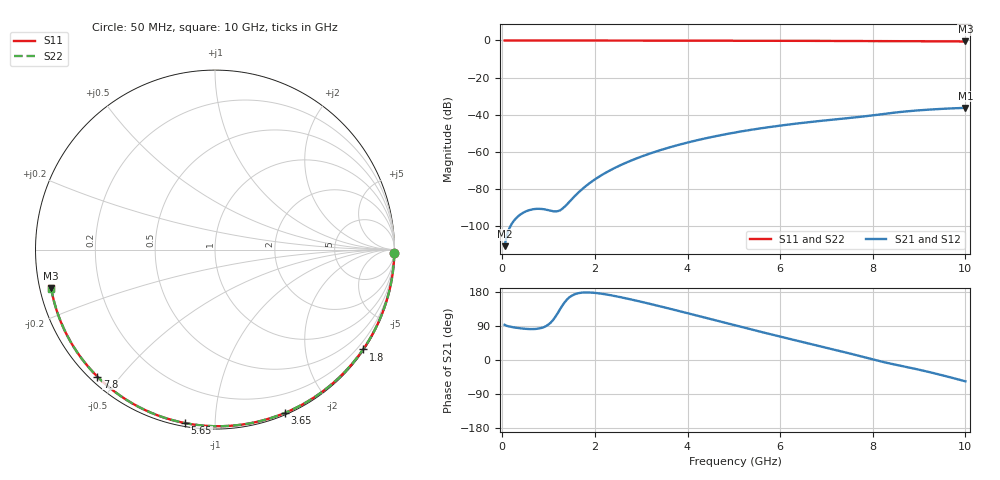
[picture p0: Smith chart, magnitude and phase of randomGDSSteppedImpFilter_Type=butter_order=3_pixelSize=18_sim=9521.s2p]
! freq	dB(S11)	phase(S11)	dB(S12)	phase(S12)
!  dB(S21)	phase(S21)	dB(S22)	phase(S22)
!S-par simulation data
#  GHz  S  DB  R 50
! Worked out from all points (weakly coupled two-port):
!   200 points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, 50 MHz to 10 GHz, reference 50 ohm
!   highest |S21| = -36.28 dB at 10 GHz (marker M1); lowest = -110.7 dB at 50 MHz (marker M2)
!   lowest |S11| = -0.6 dB at 10 GHz (marker M3), VSWR 31.25, Z = 1.62 - j5.8 ohm
!   |S11| at or under -10 dB: nowhere
!   |S22| runs from -0.6 to 0.0 dB; largest |S21 - S12| = 0
!   S11 on the Smith chart (normalised r, x): 50 MHz: open; 1.8 GHz: 0.03, -3.27; 3.65 GHz: 0.02, -1.51; 5.65 GHz: 0.02, -0.84; 7.8 GHz: 0.02, -0.44; 10 GHz: 0.03, -0.12
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0.05  -0.00 -1.0  -110.69 92.9  -110.69 92.9  -0.00 -1.0
0.5  -0.01 -9.6  -92.09 82.2  -92.09 82.2  -0.01 -9.5
0.9  -0.02 -17.2  -90.83 86.8  -90.83 86.8  -0.02 -17.1
1.7  -0.04 -32.1  -80.55 177.5  -80.55 177.5  -0.04 -32.1
1.75  -0.04 -33.1  -79.46 178.0  -79.46 178.0  -0.04 -33.0
1.8  -0.04 -34.0  -78.43 178.3  -78.43 178.3  -0.04 -33.9
1.95  -0.05 -36.7  -75.61 177.7  -75.61 177.7  -0.05 -36.7
2.1  -0.05 -39.5  -73.14 175.7  -73.14 175.7  -0.05 -39.4
2.45  -0.06 -45.8  -68.34 168.3  -68.34 168.3  -0.06 -45.8
2.9  -0.07 -53.9  -63.46 156.5  -63.46 156.5  -0.07 -53.8
3.4  -0.08 -62.6  -59.13 141.9  -59.13 141.9  -0.08 -62.6
3.65  -0.09 -67.0  -57.27 134.3  -57.27 134.3  -0.09 -66.9
4.3  -0.11 -77.9  -53.16 114.2  -53.16 114.2  -0.11 -77.8
5.05  -0.14 -90.2  -49.42 90.8  -49.42 90.8  -0.14 -90.1
5.65  -0.17 -99.8  -47.03 72.3  -47.03 72.3  -0.17 -99.7
6.15  -0.20 -107.6  -45.35 57.3  -45.35 57.3  -0.19 -107.5
6.7  -0.23 -116.1  -43.75 41.1  -43.75 41.1  -0.23 -116.0
7.25  -0.27 -124.5  -42.32 24.9  -42.32 24.9  -0.27 -124.3
7.8  -0.31 -132.8  -40.91 7.8  -40.91 7.8  -0.31 -132.7
8.35  -0.36 -141.2  -39.19 -8.7  -39.19 -8.7  -0.36 -141.0
9.1  -0.44 -152.7  -37.41 -28.4  -37.41 -28.4  -0.44 -152.4
10  -0.56 -166.7  -36.28 -56.3  -36.28 -56.3  -0.56 -166.5
